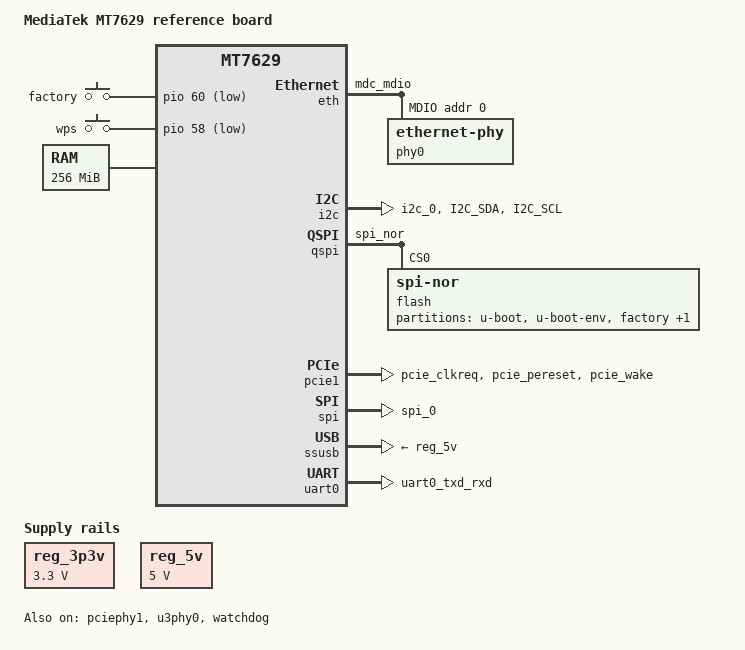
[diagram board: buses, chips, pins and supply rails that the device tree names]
// SPDX-License-Identifier: GPL-2.0
/*
 * Copyright (c) 2019 MediaTek Inc.
 * Author: Ryder Lee <ryder.lee@mediatek.com>
 */

/dts-v1/;
#include <dt-bindings/input/input.h>
#include "mt7629.dtsi"

/ {
	model = "MediaTek MT7629 reference board";
	compatible = "mediatek,mt7629-rfb", "mediatek,mt7629";

	aliases {
		serial0 = &uart0;
	};

	chosen {
		stdout-path = "serial0:115200n8";
	};

	gpio-keys {
		compatible = "gpio-keys";

		button-reset {
			label = "factory";
			linux,code = <KEY_RESTART>;
			gpios = <&pio 60 GPIO_ACTIVE_LOW>;
		};

		button-wps {
			label = "wps";
			linux,code = <KEY_WPS_BUTTON>;
			gpios = <&pio 58 GPIO_ACTIVE_LOW>;
		};
	};

	memory@40000000 {
		device_type = "memory";
		reg = <0x40000000 0x10000000>;
	};

	reg_3p3v: regulator-3p3v {
		compatible = "regulator-fixed";
		regulator-name = "fixed-3.3V";
		regulator-min-microvolt = <3300000>;
		regulator-max-microvolt = <3300000>;
		regulator-boot-on;
		regulator-always-on;
	};

	reg_5v: regulator-5v {
		compatible = "regulator-fixed";
		regulator-name = "fixed-5V";
		regulator-min-microvolt = <5000000>;
		regulator-max-microvolt = <5000000>;
		regulator-boot-on;
		regulator-always-on;
	};
};

&eth {
	pinctrl-names = "default";
	pinctrl-0 = <&eth_pins>;
	pinctrl-1 = <&ephy_leds_pins>;
	status = "okay";

	gmac0: mac@0 {
		compatible = "mediatek,eth-mac";
		reg = <0>;
		phy-mode = "2500base-x";
		fixed-link {
			speed = <2500>;
			full-duplex;
			pause;
		};
	};

	gmac1: mac@1 {
		compatible = "mediatek,eth-mac";
		reg = <1>;
		phy-mode = "gmii";
		phy-handle = <&phy0>;
	};

	mdio: mdio-bus {
		#address-cells = <1>;
		#size-cells = <0>;

		phy0: ethernet-phy@0 {
			reg = <0>;
		};
	};
};

&i2c {
	pinctrl-names = "default";
	pinctrl-0 = <&i2c_pins>;
	status = "okay";
};

&qspi {
	pinctrl-names = "default";
	pinctrl-0 = <&qspi_pins>;
	status = "okay";

	flash@0 {
		compatible = "jedec,spi-nor";
		reg = <0>;

		partitions {
			compatible = "fixed-partitions";
			#address-cells = <1>;
			#size-cells = <1>;

			partition@0 {
				label = "u-boot";
				reg = <0x00000 0x60000>;
				read-only;
			};

			partition@60000 {
				label = "u-boot-env";
				reg = <0x60000 0x10000>;
				read-only;
			};

			factory: partition@70000 {
				label = "factory";
				reg = <0x70000 0x40000>;
				read-only;
			};

			partition@b0000 {
				label = "kernel";
				reg = <0xb0000 0xb50000>;
			};
		};
	};
};

&pcie1 {
	pinctrl-names = "default";
	pinctrl-0 = <&pcie_pins>;
	status = "okay";
};

&pciephy1 {
	status = "okay";
};

&pio {
	eth_pins: eth-pins {
		mux {
			function = "eth";
			groups = "mdc_mdio";
		};
	};

	ephy_leds_pins: ephy-leds-pins {
		mux {
			function = "led";
			groups = "gphy_leds_0", "ephy_leds";
		};
	};

	i2c_pins: i2c-pins {
		mux {
			function = "i2c";
			groups =  "i2c_0";
		};

		conf {
			pins = "I2C_SDA", "I2C_SCL";
			drive-strength = <4>;
			bias-disable;
		};
	};

	pcie_pins: pcie-pins {
		mux {
			function = "pcie";
			groups = "pcie_clkreq",
				 "pcie_pereset",
				 "pcie_wake";
		};
	};

	pwm_pins: pwm-pins {
		mux {
			function = "pwm";
			groups = "pwm_0";
		};
	};

	/* SPI-NOR is shared pin with serial NAND */
	qspi_pins: qspi-pins {
		mux {
			function = "flash";
			groups = "spi_nor";
		};
	};

	/* Serial NAND is shared pin with SPI-NOR */
	serial_nand_pins: serial-nand-pins {
		mux {
			function = "flash";
			groups = "snfi";
		};
	};

	spi_pins: spi-pins {
		mux {
			function = "spi";
			groups = "spi_0";
		};
	};

	uart0_pins: uart0-pins {
		mux {
			function = "uart";
			groups = "uart0_txd_rxd" ;
		};
	};

	uart1_pins: uart1-pins {
		mux {
			function = "uart";
			groups = "uart1_0_tx_rx" ;
		};
	};

	uart2_pins: uart2-pins {
		mux {
			function = "uart";
			groups = "uart2_0_txd_rxd" ;
		};
	};

	watchdog_pins: watchdog-pins {
		mux {
			function = "watchdog";
			groups = "watchdog";
		};
	};
};

&spi {
	pinctrl-names = "default";
	pinctrl-0 = <&spi_pins>;
	status = "okay";
};

&ssusb {
	vusb33-supply = <&reg_3p3v>;
	vbus-supply = <&reg_5v>;
	status = "okay";
};

&u3phy0 {
	status = "okay";
};

&uart0 {
	pinctrl-names = "default";
	pinctrl-0 = <&uart0_pins>;
	status = "okay";
};

&watchdog {
	pinctrl-names = "default";
	pinctrl-0 = <&watchdog_pins>;
	status = "okay";
};
